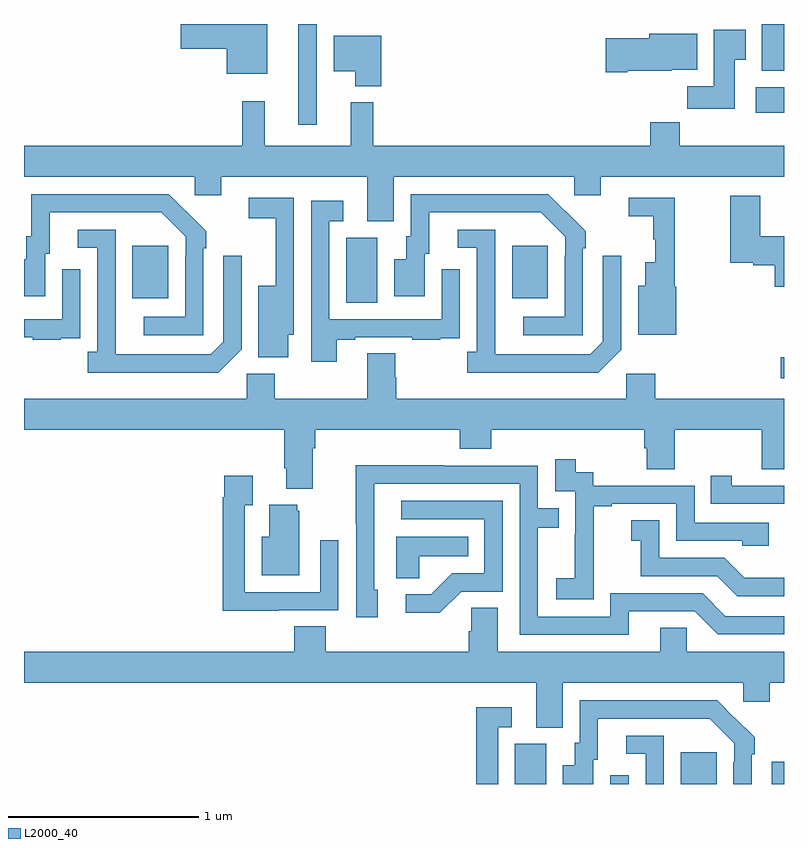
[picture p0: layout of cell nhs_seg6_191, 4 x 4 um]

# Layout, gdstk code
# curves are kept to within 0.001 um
import gdstk
lib = gdstk.Library(unit=1e-6, precision=1e-09)
def R(c, l, rs):  # rectangles x0, y0, x1, y1
    for r in rs: c.add(gdstk.rectangle(r[:2], r[2:], *l))
def P(c, l, *ps):  # polygons
    for p in ps: c.add(gdstk.Polygon(p, *l))
L2000_40 = (2000, 40)

nhs_seg6_191 = lib.new_cell('nhs_seg6_191')
R(nhs_seg6_191, L2000_40, [(123.584,917.5,123.748,917.712), (124.086,917.5,124.182,917.545), (124.457,917.5,124.645,917.668), (124.935,917.5,125,917.617), (124.984,919.635,125,919.747), (122.696,920.032,122.86,920.376), (121.571,920.057,121.759,920.332), (123.569,920.057,123.757,920.332), (122.444,920.97,122.541,921.5), (124.851,921.032,125,921.166), (124.883,921.254,125,921.5)])
P(nhs_seg6_191, L2000_40, [(122.281,921.5),(121.824,921.5),(121.824,921.371),(122.066,921.371),(122.066,921.239),(122.281,921.239)],
  [(124.741,921.313),(124.798,921.313),(124.798,921.469),(124.631,921.469),(124.631,921.172),(124.492,921.172),(124.492,921.054),(124.741,921.054)],
  [(124.174,921.254),(124.41,921.254),(124.41,921.26),(124.543,921.26),(124.543,921.448),(124.292,921.448),(124.292,921.425),(124.062,921.425),(124.062,921.247),(124.174,921.247)],
  [(122.879,921.439),(122.63,921.439),(122.63,921.251),(122.744,921.251),(122.744,921.173),(122.879,921.173)],
  [(122.947,920.696),(123.897,920.696),(123.897,920.598),(124.036,920.598),(124.036,920.696),(125,920.696),(125,920.86),(124.451,920.86),(124.451,920.984),(124.295,920.984),(124.295,920.86),(122.837,920.86),(122.837,921.088),(122.72,921.088),(122.72,920.86),(122.267,920.86),(122.267,921.094),(122.149,921.094),(122.149,920.86),(121,920.86),(121,920.696),(121.899,920.696),(121.899,920.598),(122.038,920.598),(122.038,920.696),(122.807,920.696),(122.807,920.461),(122.947,920.461)],
  [(123.942,920.321),(123.957,920.321),(123.957,920.409),(123.76,920.604),(123.036,920.604),(123.036,920.382),(123.011,920.382),(123.011,920.263),(122.948,920.263),(122.948,920.067),(123.109,920.067),(123.109,920.292),(123.133,920.292),(123.133,920.508),(123.721,920.508),(123.849,920.379),(123.849,920.279),(123.846,920.279),(123.846,919.959),(123.627,919.959),(123.627,919.863),(123.942,919.863)],
  [(121.944,920.321),(121.959,920.321),(121.959,920.409),(121.762,920.604),(121.038,920.604),(121.038,920.382),(121.013,920.382),(121.013,920.263),(121,920.263),(121,920.067),(121.111,920.067),(121.111,920.292),(121.135,920.292),(121.135,920.508),(121.723,920.508),(121.851,920.379),(121.851,920.279),(121.848,920.279),(121.848,919.959),(121.629,919.959),(121.629,919.863),(121.944,919.863)],
  [(125,920.383),(124.876,920.383),(124.876,920.596),(124.718,920.596),(124.718,920.243),(124.839,920.243),(124.839,920.231),(124.952,920.231),(124.952,920.117),(125,920.117)],
  [(122.392,919.865),(122.421,919.865),(122.421,920.586),(122.184,920.586),(122.184,920.478),(122.324,920.478),(122.324,920.122),(122.234,920.122),(122.234,919.746),(122.392,919.746)],
  [(124.433,920.118),(124.424,920.118),(124.424,920.586),(124.182,920.586),(124.182,920.488),(124.311,920.488),(124.311,920.367),(124.322,920.367),(124.322,920.245),(124.271,920.245),(124.271,920.122),(124.232,920.122),(124.232,919.865),(124.433,919.865)],
  [(122.647,919.839),(122.743,919.839),(122.743,919.851),(123.043,919.851),(123.043,919.839),(123.191,919.839),(123.191,919.845),(123.293,919.845),(123.293,919.954),(123.294,919.954),(123.294,920.209),(123.198,920.209),(123.198,919.947),(122.607,919.947),(122.607,920.463),(122.68,920.463),(122.68,920.569),(122.511,920.569),(122.511,919.722),(122.647,919.722)],
  [(122.145,919.787),(122.145,920.281),(122.049,920.281),(122.049,919.827),(121.983,919.761),(121.483,919.761),(121.482,920.418),(121.284,920.418),(121.284,920.322),(121.386,920.322),(121.386,919.774),(121.335,919.774),(121.335,919.664),(122.022,919.664)],
  [(124.143,919.785),(124.143,920.281),(124.047,920.281),(124.047,919.827),(123.981,919.761),(123.481,919.761),(123.48,920.418),(123.282,920.418),(123.282,920.322),(123.384,920.322),(123.384,919.774),(123.333,919.774),(123.333,919.664),(124.022,919.664)],
  [(121.193,919.845),(121.295,919.845),(121.295,919.954),(121.296,919.954),(121.296,920.209),(121.2,920.209),(121.2,919.947),(121,919.947),(121,919.851),(121.045,919.851),(121.045,919.839),(121.193,919.839)],
  [(122.521,919.268),(122.534,919.268),(122.534,919.364),(123.293,919.364),(123.293,919.265),(123.458,919.265),(123.458,919.364),(124.265,919.364),(124.265,919.266),(124.277,919.266),(124.277,919.156),(124.425,919.156),(124.425,919.364),(124.882,919.364),(124.882,919.156),(125,919.156),(125,919.528),(124.322,919.528),(124.322,919.66),(124.17,919.66),(124.17,919.528),(122.96,919.528),(122.96,919.641),(122.955,919.641),(122.955,919.766),(122.807,919.766),(122.807,919.528),(122.319,919.528),(122.319,919.66),(122.172,919.66),(122.172,919.528),(121,919.528),(121,919.364),(122.369,919.364),(122.369,919.162),(122.381,919.162),(122.381,919.055),(122.521,919.055)],
  [(123.999,918.679),(123.998,918.679),(123.998,918.963),(124.093,918.963),(124.093,918.975),(124.434,918.975),(124.434,918.78),(124.779,918.78),(124.779,918.753),(124.919,918.753),(124.919,918.876),(124.53,918.876),(124.53,919.071),(123.996,919.071),(123.996,919.14),(123.904,919.14),(123.904,919.21),(123.795,919.21),(123.795,919.041),(123.9,919.041),(123.9,918.812),(123.899,918.812),(123.899,918.583),(123.801,918.583),(123.801,918.473),(123.999,918.473)],
  [(124.183,918.408),(124.53,918.408),(124.65,918.288),(125,918.288),(125,918.384),(124.692,918.384),(124.572,918.504),(124.086,918.504),(124.086,918.381),(123.705,918.381),(123.705,918.85),(123.815,918.85),(123.815,918.951),(123.705,918.951),(123.705,919.176),(123.209,919.176),(123.209,919.178),(122.746,919.178),(122.746,918.871),(122.748,918.871),(122.748,918.378),(122.863,918.378),(122.863,918.522),(122.844,918.522),(122.844,919.08),(123.609,919.08),(123.609,918.285),(124.183,918.285)],
  [(122.339,918.414),(122.655,918.414),(122.655,918.784),(122.559,918.784),(122.559,918.51),(122.163,918.51),(122.163,918.967),(122.203,918.967),(122.203,919.123),(122.055,919.123),(122.055,919.01),(122.047,919.01),(122.047,918.413),(122.339,918.413)],
  [(125,919.071),(124.726,919.071),(124.726,919.123),(124.615,919.123),(124.615,918.975),(125,918.975)],
  [(123.3,918.513),(123.519,918.513),(123.519,918.99),(122.985,918.99),(122.985,918.894),(123.423,918.894),(123.423,918.609),(123.254,918.609),(123.143,918.498),(123.009,918.498),(123.009,918.401),(123.187,918.401)],
  [(122.449,918.939),(122.438,918.939),(122.438,918.97),(122.291,918.97),(122.291,918.802),(122.252,918.802),(122.252,918.599),(122.449,918.599)],
  [(125,918.586),(124.79,918.586),(124.686,918.69),(124.344,918.69),(124.344,918.889),(124.197,918.889),(124.197,918.779),(124.246,918.779),(124.246,918.594),(124.649,918.594),(124.754,918.489),(125,918.489)],
  [(123.081,918.698),(123.338,918.698),(123.338,918.802),(122.96,918.802),(122.96,918.583),(123.081,918.583)],
  [(123.835,918.032),(124.785,918.032),(124.785,917.934),(124.924,917.934),(124.924,918.032),(125,918.032),(125,918.196),(124.488,918.196),(124.488,918.323),(124.349,918.323),(124.349,918.196),(123.493,918.196),(123.493,918.428),(123.354,918.428),(123.354,918.305),(123.341,918.305),(123.341,918.196),(122.588,918.196),(122.588,918.329),(122.423,918.329),(122.423,918.196),(121,918.196),(121,918.032),(123.695,918.032),(123.695,917.797),(123.835,917.797)],
  [(123.997,917.628),(124.021,917.628),(124.021,917.844),(124.609,917.844),(124.737,917.715),(124.737,917.615),(124.734,917.615),(124.734,917.5),(124.83,917.5),(124.83,917.657),(124.845,917.657),(124.845,917.745),(124.648,917.94),(123.924,917.94),(123.924,917.718),(123.899,917.718),(123.899,917.599),(123.836,917.599),(123.836,917.5),(123.997,917.5)],
  [(123.495,917.799),(123.568,917.799),(123.568,917.905),(123.379,917.905),(123.379,917.5),(123.495,917.5)],
  [(124.368,917.754),(124.17,917.754),(124.17,917.658),(124.272,917.658),(124.272,917.5),(124.368,917.5)])

lib.write_gds('nhs_seg6_191.gds')
